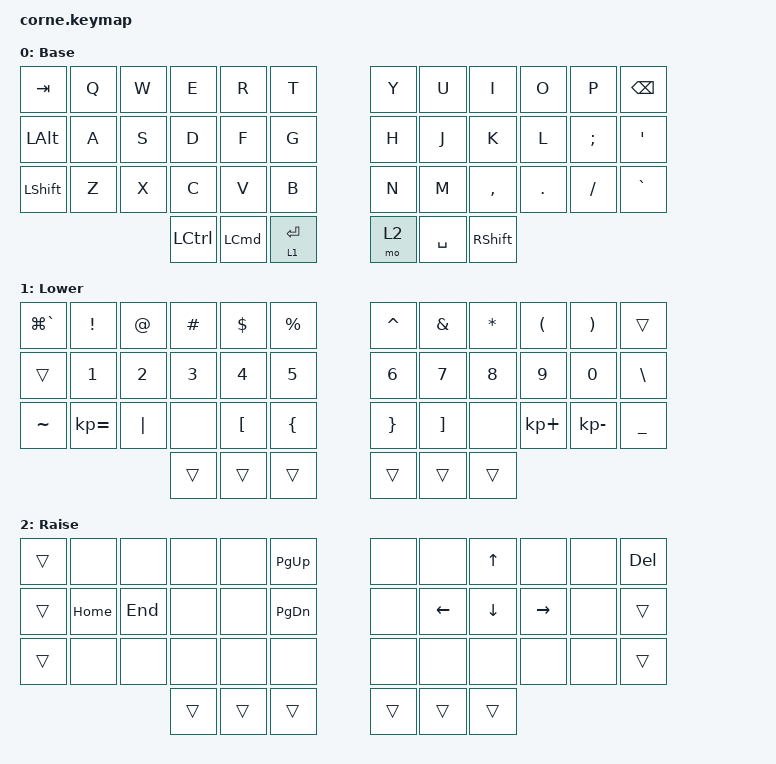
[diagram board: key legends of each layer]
/*
 * Copyright (c) 2020 The ZMK Contributors
 *
 * SPDX-License-Identifier: MIT
 */

#include <behaviors.dtsi>
#include <dt-bindings/zmk/keys.h>

/ {
    combos {
        compatible = "zmk,combos";

        combo_esc {
            bindings = <&kp ESC>;
            key-positions = <0 1>;
            layers = <0>;
        };
    };

    behaviors {
        hold_kp_tap_kp: hold_kp_tap_kp {
            compatible = "zmk,behavior-hold-tap";
            label = "HOLD_KP_TAP_KP";
            bindings = <&kp>, <&kp>;

            #binding-cells = <2>;
            tapping-term-ms = <200>;
        };

        hold_molayer_tap_kp: hold_molayer_tap_kp {
            compatible = "zmk,behavior-hold-tap";
            label = "HOLD_MOLAYER_TAP_KP";
            bindings = <&mo>, <&kp>;

            #binding-cells = <2>;
            tapping-term-ms = <200>;
        };
    };

    keymap {
        compatible = "zmk,keymap";

        default_layer {
            // -----------------------------------------------------------------------------------------
            // |  TAB |  Q  |  W  |  E  |  R  |  T  |   |  Y  |  U   |  I  |  O  |  P  | BKSP |
            // | CTRL |  A  |  S  |  D  |  F  |  G  |   |  H  |  J   |  K  |  L  |  ;  |  '   |
            // | SHFT |  Z  |  X  |  C  |  V  |  B  |   |  N  |  M   |  ,  |  .  |  /  | ESC  |
            //                    | GUI | LWR | SPC |   | ENT | RSE  | ALT |

            display-name = "Base";
            bindings = <
&kp TAB       &kp Q  &kp W  &kp E             &kp R             &kp T                           &kp Y  &kp U      &kp I       &kp O    &kp P     &kp BACKSPACE
&kp LEFT_ALT  &kp A  &kp S  &kp D             &kp F             &kp G                           &kp H  &kp J      &kp K       &kp L    &kp SEMI  &kp SQT
&kp LSHFT     &kp Z  &kp X  &kp C             &kp V             &kp B                           &kp N  &kp M      &kp COMMA   &kp DOT  &kp FSLH  &kp GRAVE
                            &kp LEFT_CONTROL  &kp LEFT_COMMAND  &hold_molayer_tap_kp 1 ENTER    &mo 2  &kp SPACE  &kp RSHIFT
            >;
        };

        lower_layer {
            // -----------------------------------------------------------------------------------------
            // |  TAB |  1  |  2  |  3  |  4  |  5  |   |  6  |  7  |  8  |  9  |  0  | BKSP |
            // | BTCLR| BT1 | BT2 | BT3 | BT4 | BT5 |   | LFT | DWN |  UP | RGT |     |      |
            // | SHFT |     |     |     |     |     |   |     |     |     |     |     |      |
            //                    | GUI |     | SPC |   | ENT |     | ALT |

            display-name = "Lower";
            bindings = <
&kp LG(GRAVE)  &kp EXCLAMATION  &kp AT        &kp HASH      &kp DOLLAR        &kp PERCENT       &kp CARET        &kp AMPERSAND      &kp STAR      &kp LEFT_PARENTHESIS  &kp RIGHT_PARENTHESIS  &trans
&trans         &kp NUMBER_1     &kp NUMBER_2  &kp NUMBER_3  &kp NUMBER_4      &kp N5            &kp NUMBER_6     &kp NUMBER_7       &kp NUMBER_8  &kp NUMBER_9          &kp NUMBER_0           &kp BACKSLASH
&kp TILDE      &kp KP_EQUAL     &kp PIPE      &none         &kp LEFT_BRACKET  &kp LEFT_BRACE    &kp RIGHT_BRACE  &kp RIGHT_BRACKET  &none         &kp KP_PLUS           &kp KP_MINUS           &kp UNDER
                                              &trans        &trans            &trans            &trans           &trans             &trans
            >;
        };

        raise_layer {
            // -----------------------------------------------------------------------------------------
            // |  TAB |  !  |  @  |  #  |  $  |  %  |   |  ^  |  &  |  *  |  (  |  )  | BKSP |
            // | CTRL |     |     |     |     |     |   |  -  |  =  |  [  |  ]  |  \  |  `   |
            // | SHFT |     |     |     |     |     |   |  _  |  +  |  {  |  }  | "|" |  ~   |
            //                    | GUI |     | SPC |   | ENT |     | ALT |

            display-name = "Raise";
            bindings = <
&trans  &none     &none    &none   &none   &kp PAGE_UP      &none   &none           &kp UP_ARROW    &none            &none  &kp DELETE
&trans  &kp HOME  &kp END  &none   &none   &kp PAGE_DOWN    &none   &kp LEFT_ARROW  &kp DOWN_ARROW  &kp RIGHT_ARROW  &none  &trans
&trans  &none     &none    &none   &none   &none            &none   &none           &none           &none            &none  &trans
                           &trans  &trans  &trans           &trans  &trans          &trans
            >;
        };
    };
};
